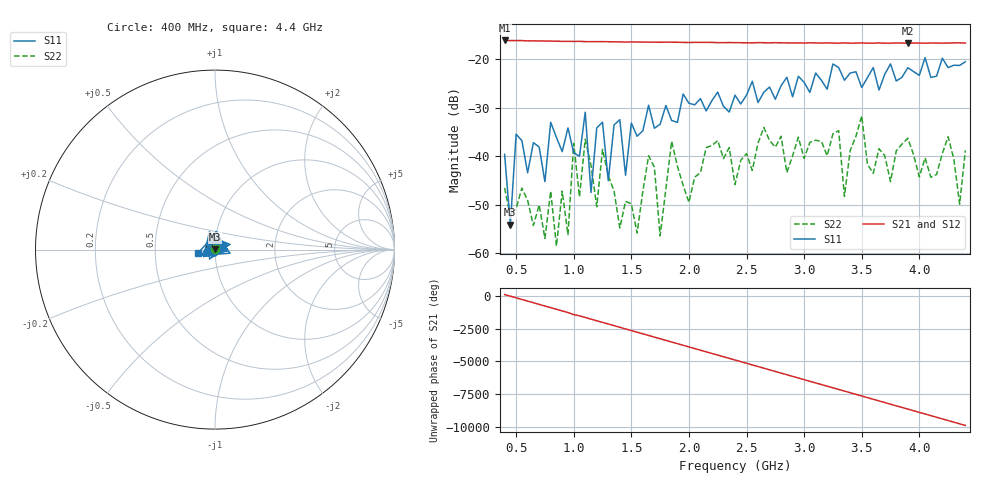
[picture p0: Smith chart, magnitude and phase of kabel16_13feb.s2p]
#  HZ  S  RI  R  50.0
! Rohde & Schwarz ZVL
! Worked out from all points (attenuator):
!   81 points, 400 MHz to 4.4 GHz, reference 50 ohm
!   highest |S21| = -16.17 dB at 400 MHz (marker M1); lowest = -16.7 dB at 3.9 GHz (marker M2)
!   lowest |S11| = -54.1 dB at 450 MHz (marker M3), VSWR 1.00, Z = 50.2 + j0.123 ohm
!   |S11| at or under -10 dB: start of sweep to end of sweep
!   |S22| runs from -58.5 to -31.7 dB; largest |S21 - S12| = 0.0064
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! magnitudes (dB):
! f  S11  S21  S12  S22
! 400 MHz  -39.6  -16.2  -16.1  -46.5
! 450 MHz  -54.1  -16.2  -16.2  -52.4
! 500 MHz  -35.5  -16.2  -16.3  -50.8
! 950 MHz  -34.2  -16.4  -16.4  -56.2
! 1 GHz  -39.3  -16.4  -16.4  -37.4
! 1.05 GHz  -40.0  -16.3  -16.4  -48.4
! 1.1 GHz  -30.9  -16.4  -16.4  -36.5
! 1.15 GHz  -47.5  -16.4  -16.4  -41.9
! 1.2 GHz  -34.2  -16.4  -16.4  -50.4
! 1.25 GHz  -33.0  -16.4  -16.4  -38.6
! 1.3 GHz  -45.0  -16.4  -16.5  -44.0
! 1.55 GHz  -35.9  -16.5  -16.5  -55.8
! 1.65 GHz  -29.5  -16.5  -16.5  -39.9
! 1.75 GHz  -33.4  -16.5  -16.6  -56.4
! 1.85 GHz  -32.7  -16.5  -16.6  -37.0
! 2.4 GHz  -27.4  -16.6  -16.7  -45.8
! 3.1 GHz  -22.9  -16.7  -16.7  -36.7
! 3.75 GHz  -21.0  -16.7  -16.7  -45.2
! 3.9 GHz  -21.8  -16.7  -16.7  -36.3
! 4.25 GHz  -21.8  -16.7  -16.7  -36.0
! 4.35 GHz  -21.3  -16.7  -16.8  -49.9
! 4.4 GHz  -20.5  -16.7  -16.7  -38.8
